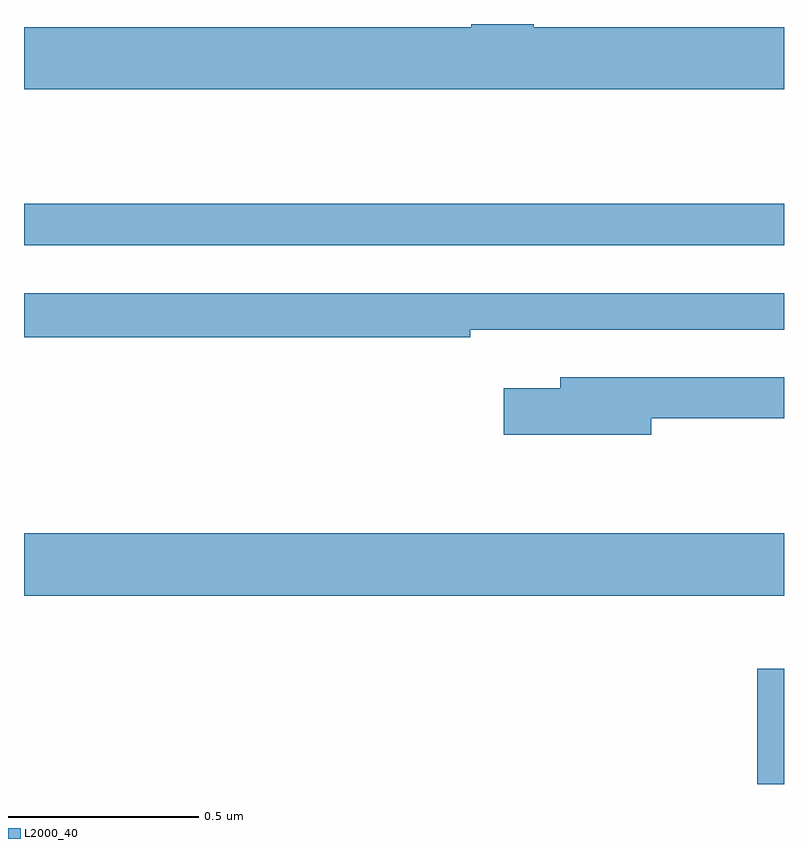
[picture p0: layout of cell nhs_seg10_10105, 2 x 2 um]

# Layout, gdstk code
import gdstk
lib = gdstk.Library(unit=1e-6, precision=1e-09)
def R(c, l, rs):  # rectangles x0, y0, x1, y1
    for r in rs: c.add(gdstk.rectangle(r[:2], r[2:], *l))
def P(c, l, *ps):  # polygons
    for p in ps: c.add(gdstk.Polygon(p, *l))
L2000_40 = (2000, 40)

nhs_seg10_10105 = lib.new_cell('nhs_seg10_10105')
R(nhs_seg10_10105, L2000_40, [(239.929,1286.5,240,1286.803), (238,1286.996,240,1287.16), (238,1287.918,240,1288.027)])
P(nhs_seg10_10105, L2000_40, [(240,1288.492),(239.342,1288.492),(239.342,1288.5),(239.177,1288.5),(239.177,1288.492),(238,1288.492),(238,1288.328),(240,1288.328)],
  [(239.174,1287.696),(240,1287.696),(240,1287.792),(238,1287.792),(238,1287.676),(239.174,1287.676)],
  [(239.65,1287.462),(240,1287.462),(240,1287.57),(239.411,1287.57),(239.411,1287.541),(239.262,1287.541),(239.262,1287.419),(239.65,1287.419)])

lib.write_gds('nhs_seg10_10105.gds')
